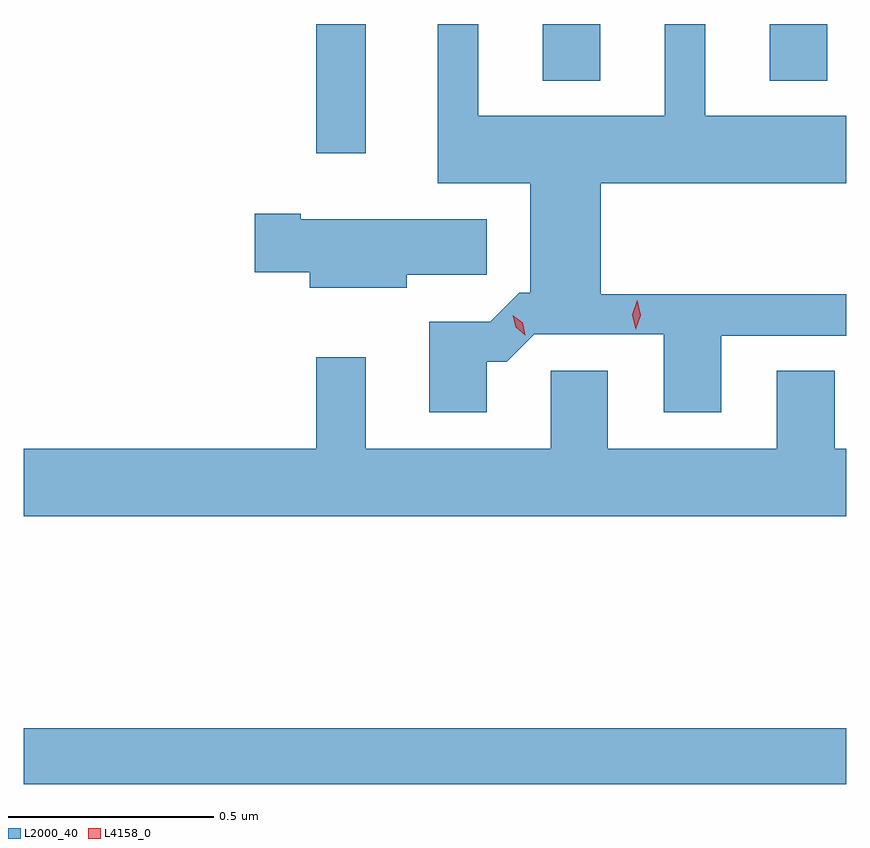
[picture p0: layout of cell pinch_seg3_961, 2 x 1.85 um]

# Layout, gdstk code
import gdstk
lib = gdstk.Library(unit=1e-6, precision=1e-09)
def R(c, l, rs):  # rectangles x0, y0, x1, y1
    for r in rs: c.add(gdstk.rectangle(r[:2], r[2:], *l))
def P(c, l, *ps):  # polygons
    for p in ps: c.add(gdstk.Polygon(p, *l))
L2000_40 = (2000, 40)
L4158_0 = (4158, 0)

pinch_seg3_961 = lib.new_cell('pinch_seg3_961')
R(pinch_seg3_961, L2000_40, [(546.063,712.252,548.063,712.388), (546.774,713.787,546.895,714.101), (547.325,713.963,547.465,714.101), (547.877,713.963,548.017,714.101)])
P(pinch_seg3_961, L2000_40, [(547.189,713.279),(547.238,713.279),(547.305,713.346),(547.619,713.346),(547.619,713.157),(547.759,713.157),(547.759,713.343),(548.063,713.343),(548.063,713.444),(547.466,713.444),(547.466,713.714),(548.063,713.714),(548.063,713.878),(547.72,713.878),(547.72,714.101),(547.622,714.101),(547.622,713.878),(547.168,713.878),(547.168,714.101),(547.07,714.101),(547.07,713.714),(547.295,713.714),(547.295,713.447),(547.268,713.447),(547.198,713.377),(547.049,713.377),(547.049,713.157),(547.189,713.157)],
  [(546.994,713.491),(547.189,713.491),(547.189,713.626),(546.736,713.626),(546.736,713.639),(546.624,713.639),(546.624,713.497),(546.758,713.497),(546.758,713.459),(546.994,713.459)],
  [(548.063,713.068),(548.035,713.068),(548.035,713.258),(547.895,713.258),(547.895,713.068),(547.483,713.068),(547.483,713.258),(547.344,713.258),(547.344,713.068),(546.895,713.068),(546.895,713.29),(546.774,713.29),(546.774,713.068),(546.063,713.068),(546.063,712.904),(548.063,712.904)])
P(pinch_seg3_961, L4158_0, [(547.551,713.358),(547.551,713.358),(547.543,713.394),(547.555,713.429),(547.555,713.429),(547.555,713.429),(547.563,713.393),(547.551,713.358)],
  [(547.283,713.344),(547.283,713.344),(547.259,713.363),(547.252,713.393),(547.252,713.393),(547.252,713.393),(547.276,713.374),(547.283,713.344)])

lib.write_gds('pinch_seg3_961.gds')
